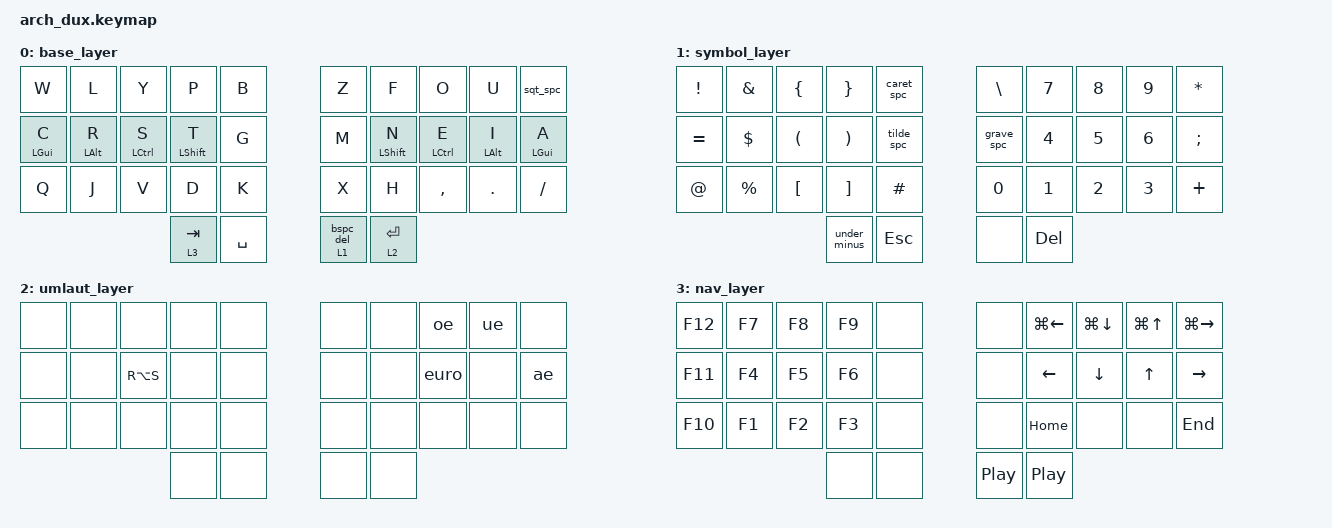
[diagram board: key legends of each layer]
#include <behaviors.dtsi>
#include <dt-bindings/zmk/keys.h>
#include <dt-bindings/zmk/bt.h>

&lt { flavor = "hold-preferred"; };

/ {
     macros {
      sqt_spc: sqt_spc {
        label = "ZM_sqt_spc";
        compatible = "zmk,behavior-macro";
        #binding-cells = <0>;
        wait-ms = <0>;
        tap-ms = <0>;
        bindings = <&kp SQT &kp SPACE>;
      };
      grave_spc: grave_spc {
        label = "ZM_grave_spc";
        compatible = "zmk,behavior-macro";
        #binding-cells = <0>;
        wait-ms = <0>;
        tap-ms = <0>;
        bindings = <&kp GRAVE &kp SPACE>;
      };
      tilde_spc: tilde_spc {
        label = "ZM_tilde_spc";
        compatible = "zmk,behavior-macro";
        #binding-cells = <0>;
        wait-ms = <0>;
        tap-ms = <0>;
        bindings = <&kp TILDE &kp SPACE>;
      };
      caret_spc: caret_spc {
        label = "ZM_caret_spc";
        compatible = "zmk,behavior-macro";
        #binding-cells = <0>;
        wait-ms = <0>;
        tap-ms = <0>;
        bindings = <&kp CARET &kp SPACE>;
      };
      ae: ae {
        label = "ZM_ae";
        compatible = "zmk,behavior-macro";
        #binding-cells = <0>;
        wait-ms = <0>;
        tap-ms = <0>;
        bindings = <&kp DQT &kp A>;
      };
      oe: oe {
        label = "ZM_oe";
        compatible = "zmk,behavior-macro";
        #binding-cells = <0>;
        wait-ms = <0>;
        tap-ms = <0>;
        bindings = <&kp DQT &kp O>;
      };
      ue: ue {
        label = "ZM_ue";
        compatible = "zmk,behavior-macro";
        #binding-cells = <0>;
        wait-ms = <0>;
        tap-ms = <0>;
        bindings = <&kp DQT &kp U>;
      };
      euro: euro {
        label = "ZM_euro";
        compatible = "zmk,behavior-macro";
        #binding-cells = <0>;
        wait-ms = <0>;
        tap-ms = <0>;
        bindings = <&kp DQT &kp 5>;
      };
    };
};

/ {
    behaviors {
        bspc_del: bspc_del {
            compatible = "zmk,behavior-mod-morph";
            #binding-cells = <0>;
            bindings = <&kp BSPC>, <&kp DEL>;
            mods = <(MOD_LSFT)>;
        };
        under_minus: under_minus {
            compatible = "zmk,behavior-mod-morph";
            #binding-cells = <0>;
            bindings = <&kp UNDER>, <&kp MINUS>;
            mods = <(MOD_LSFT)>;
        };

        hml: hml {
            compatible = "zmk,behavior-hold-tap";
            #binding-cells = <2>;
            bindings = <&kp>, <&kp>;
            flavor = "balanced";
            tapping-term-ms = <280>;
            quick-tap-ms = <175>;
            require-prior-idle-ms = <150>;
            hold-trigger-on-release;
            hold-trigger-key-positions = <5 6 7 8 9 15 16 17 18 19 25 26 27 28 29 30 31 32 33>;
        };
        hmr: hmr {
            compatible = "zmk,behavior-hold-tap";
            #binding-cells = <2>;
            bindings = <&kp>, <&kp>;
            flavor = "balanced";
            tapping-term-ms = <280>;
            quick-tap-ms = <175>;
            require-prior-idle-ms = <150>;
            hold-trigger-on-release;
            hold-trigger-key-positions = <4 3 2 1 0 14 13 12 11 10 24 23 22 21 20 31 30 32 33>;
        };
        lt_bspc_del: lt_bspc_del {
            compatible = "zmk,behavior-hold-tap";
            #binding-cells = <2>;
            flavor = "hold-preferred";
            tapping-term-ms = <200>;
            bindings = <&mo>, <&bspc_del>;
        };
    };
};

/ {
    keymap {
        compatible = "zmk,keymap";

        base_layer {
            bindings = <
                &kp W        &kp L        &kp Y         &kp P         &kp B         &kp Z             &kp F         &kp O         &kp U        &sqt_spc
                &hml LGUI C  &hml LALT R  &hml LCTRL S  &hml LSHFT T  &kp G         &kp M             &hmr LSHFT N  &hmr LCTRL E  &hmr LALT I  &hmr LGUI A
                &kp Q        &kp J        &kp V         &kp D         &kp K         &kp X             &kp H         &kp COMMA     &kp DOT      &kp SLASH
                                                        &lt 3 TAB     &kp SPACE     &lt_bspc_del 1 0  &lt 2 ENTER
            >;
        };

        symbol_layer {
            bindings = <
                &kp EXCL   &kp AMPS   &kp LBRC  &kp RBRC      &caret_spc    &kp BSLH    &kp N7   &kp N8  &kp N9  &kp STAR
                &kp EQUAL  &kp DLLR   &kp LPAR  &kp RPAR      &tilde_spc    &grave_spc  &kp N4   &kp N5  &kp N6  &kp SEMI
                &kp AT     &kp PRCNT  &kp LBKT  &kp RBKT      &kp HASH      &kp N0      &kp N1   &kp N2  &kp N3  &kp PLUS
                                                &under_minus  &kp ESC       &none       &kp DEL
            >;
        };

        umlaut_layer {
            bindings = <
                &none  &none  &none     &none  &none    &none  &none  &oe        &ue        &none
                &none  &none  &kp RA(S) &none  &none    &none  &none  &euro      &none      &ae
                &none  &none  &none     &none  &none    &none  &none  &none      &none      &none
                                        &none  &none    &none  &none
            >;
        };

        nav_layer {
            bindings = <
                &kp F12  &kp F7  &kp F8  &kp F9  &none    &none     &kp LG(LEFT)  &kp LG(DOWN)   &kp LG(UP) &kp LG(RIGHT)
                &kp F11  &kp F4  &kp F5  &kp F6  &none    &none     &kp LEFT      &kp DOWN       &kp UP     &kp RIGHT
                &kp F10  &kp F1  &kp F2  &kp F3  &none    &none     &kp HOME      &none          &none      &kp END
                                         &none   &none    &kp C_PP  &kp C_PP
            >;
        };

    };
};
